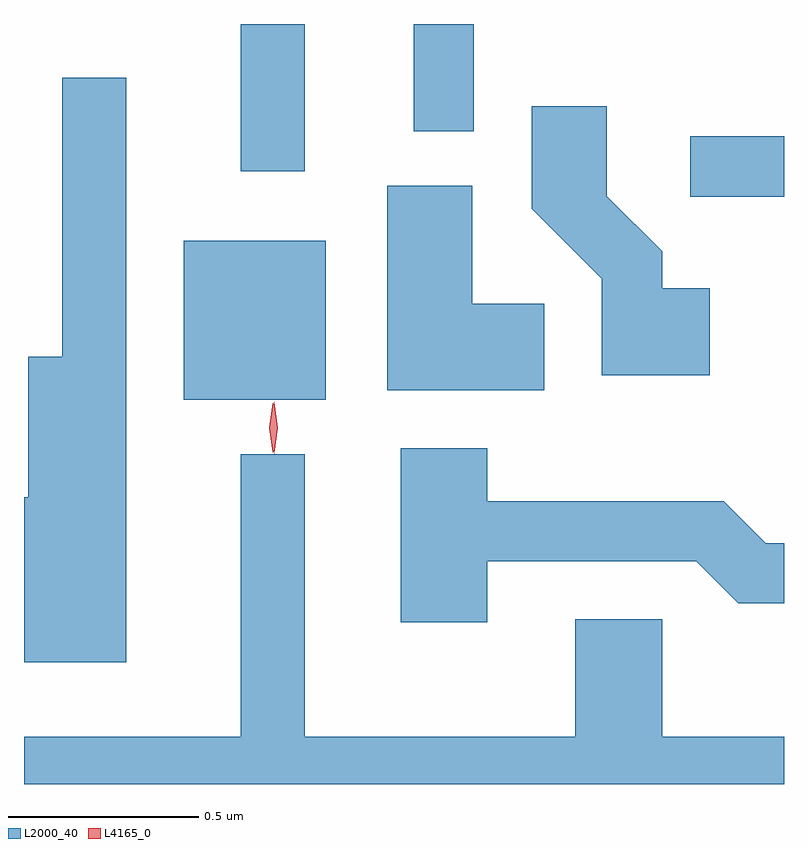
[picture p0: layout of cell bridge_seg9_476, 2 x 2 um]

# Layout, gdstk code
import gdstk
lib = gdstk.Library(unit=1e-6, precision=1e-09)
def R(c, l, rs):  # rectangles x0, y0, x1, y1
    for r in rs: c.add(gdstk.rectangle(r[:2], r[2:], *l))
def P(c, l, *ps):  # polygons
    for p in ps: c.add(gdstk.Polygon(p, *l))
L2000_40 = (2000, 40)
L4165_0 = (4165, 0)

bridge_seg9_476 = lib.new_cell('bridge_seg9_476')
R(bridge_seg9_476, L2000_40, [(409.371,1977.431,409.744,1977.849), (410.703,1977.966,410.95,1978.124), (409.521,1978.033,409.689,1978.42), (409.976,1978.138,410.134,1978.42)])
P(bridge_seg9_476, L2000_40, [(409.219,1978.278),(409.051,1978.278),(409.051,1977.544),(408.961,1977.544),(408.961,1977.174),(408.95,1977.174),(408.95,1976.741),(409.219,1976.741)],
  [(410.754,1977.724),(410.629,1977.724),(410.629,1977.822),(410.484,1977.967),(410.484,1978.204),(410.286,1978.204),(410.286,1977.934),(410.471,1977.749),(410.471,1977.496),(410.754,1977.496)],
  [(410.319,1977.684),(410.129,1977.684),(410.129,1977.994),(409.906,1977.994),(409.906,1977.456),(410.319,1977.456)],
  [(410.169,1977.006),(410.719,1977.006),(410.829,1976.896),(410.95,1976.896),(410.95,1977.054),(410.902,1977.054),(410.792,1977.164),(410.169,1977.164),(410.169,1977.304),(409.941,1977.304),(409.941,1976.846),(410.169,1976.846)],
  [(410.95,1976.544),(410.629,1976.544),(410.629,1976.854),(410.401,1976.854),(410.401,1976.544),(409.689,1976.544),(409.689,1977.288),(409.521,1977.288),(409.521,1976.544),(408.95,1976.544),(408.95,1976.42),(410.95,1976.42)])
P(bridge_seg9_476, L4165_0, [(409.608,1977.289),(409.608,1977.29),(409.598,1977.358),(409.608,1977.425),(409.608,1977.426),(409.609,1977.425),(409.618,1977.358),(409.609,1977.29)],
  [(409.605,1977.293),(409.605,1977.293),(409.595,1977.357),(409.605,1977.422),(409.605,1977.422),(409.606,1977.422),(409.615,1977.357),(409.606,1977.293)])

lib.write_gds('bridge_seg9_476.gds')
